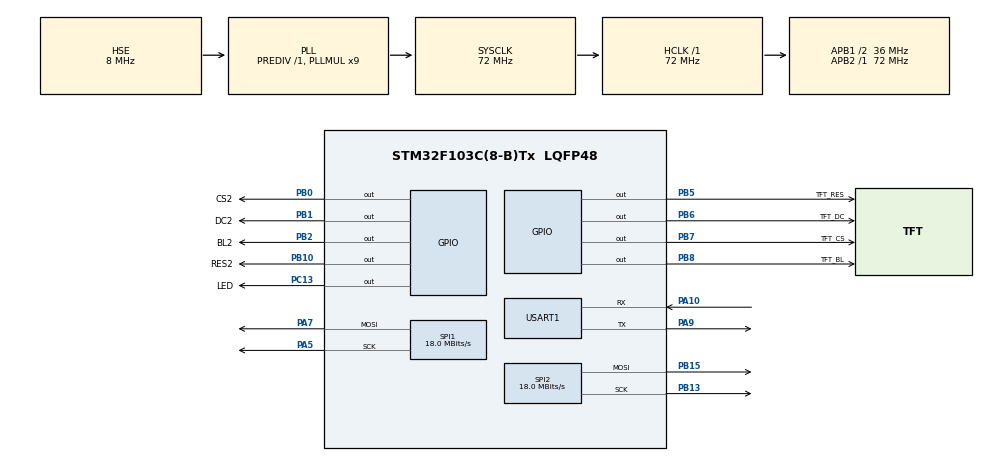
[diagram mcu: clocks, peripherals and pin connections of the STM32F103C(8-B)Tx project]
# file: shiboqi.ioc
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Dma.Request0=SPI1_TX
Dma.Request1=SPI2_TX
Dma.SPI1_TX.0.Direction=DMA_MEMORY_TO_PERIPH
Dma.SPI1_TX.0.Instance=DMA1_Channel3
Dma.SPI1_TX.0.MemDataAlignment=DMA_MDATAALIGN_BYTE
Dma.SPI1_TX.0.MemInc=DMA_MINC_ENABLE
Dma.SPI1_TX.0.Mode=DMA_NORMAL
Dma.SPI1_TX.0.PeriphDataAlignment=DMA_PDATAALIGN_BYTE
Dma.SPI1_TX.0.PeriphInc=DMA_PINC_DISABLE
Dma.SPI1_TX.0.Priority=DMA_PRIORITY_HIGH
Dma.SPI2_TX.1.Direction=DMA_MEMORY_TO_PERIPH
Dma.SPI2_TX.1.Instance=DMA1_Channel5
Dma.SPI2_TX.1.MemDataAlignment=DMA_MDATAALIGN_BYTE
Dma.SPI2_TX.1.MemInc=DMA_MINC_ENABLE
Dma.SPI2_TX.1.Mode=DMA_NORMAL
Dma.SPI2_TX.1.PeriphDataAlignment=DMA_PDATAALIGN_BYTE
Dma.SPI2_TX.1.PeriphInc=DMA_PINC_DISABLE
Dma.SPI2_TX.1.Priority=DMA_PRIORITY_HIGH
Mcu.Family=STM32F1
Mcu.Name=STM32F103C(8-B)Tx
Mcu.Package=LQFP48
NVIC.DMA1_Channel3_IRQn=true\:0\:0\:false\:false\:true\:false\:true\:true
NVIC.DMA1_Channel5_IRQn=true\:0\:0\:false\:false\:true\:false\:true\:true
NVIC.PriorityGroup=NVIC_PRIORITYGROUP_4
NVIC.USART1_IRQn=true\:0\:0\:false\:false\:true\:true\:true\:true
PA10.Mode=Asynchronous
PA10.Signal=USART1_RX
PA13.Mode=Serial_Wire
PA13.Signal=SYS_JTMS-SWDIO
PA14.Mode=Serial_Wire
PA14.Signal=SYS_JTCK-SWCLK
PA5.Mode=TX_Only_Simplex_Unidirect_Master
PA5.Signal=SPI1_SCK
PA7.Mode=TX_Only_Simplex_Unidirect_Master
PA7.Signal=SPI1_MOSI
PA9.Mode=Asynchronous
PA9.Signal=USART1_TX
PB0.GPIO_Label=CS2
PB0.Signal=GPIO_Output
PB1.GPIO_Label=DC2
PB1.Signal=GPIO_Output
PB10.GPIO_Label=RES2
PB10.Signal=GPIO_Output
PB13.Mode=TX_Only_Simplex_Unidirect_Master
PB13.Signal=SPI2_SCK
PB15.Mode=TX_Only_Simplex_Unidirect_Master
PB15.Signal=SPI2_MOSI
PB2.GPIO_Label=BL2
PB2.Signal=GPIO_Output
PB5.GPIO_Label=TFT_RES
PB5.GPIO_Speed=GPIO_SPEED_FREQ_HIGH
PB5.PinState=GPIO_PIN_RESET
PB5.Signal=GPIO_Output
PB6.GPIO_Label=TFT_DC
PB6.GPIO_Speed=GPIO_SPEED_FREQ_HIGH
PB6.PinState=GPIO_PIN_RESET
PB6.Signal=GPIO_Output
PB7.GPIO_Label=TFT_CS
PB7.GPIO_Speed=GPIO_SPEED_FREQ_HIGH
PB7.Signal=GPIO_Output
PB8.GPIO_Label=TFT_BL
PB8.Signal=GPIO_Output
PC13-TAMPER-RTC.GPIO_Label=LED
PC13-TAMPER-RTC.Signal=GPIO_Output
PD0-OSC_IN.Mode=HSE-External-Oscillator
PD0-OSC_IN.Signal=RCC_OSC_IN
PD1-OSC_OUT.Mode=HSE-External-Oscillator
PD1-OSC_OUT.Signal=RCC_OSC_OUT
ProjectManager.HeapSize=0x200
ProjectManager.StackSize=0x400
ProjectManager.TargetToolchain=STM32CubeIDE
RCC.AHBFreq_Value=72000000
RCC.APB1CLKDivider=RCC_HCLK_DIV2
RCC.APB1Freq_Value=36000000
RCC.APB1TimFreq_Value=72000000
RCC.APB2Freq_Value=72000000
RCC.APB2TimFreq_Value=72000000
RCC.HCLKFreq_Value=72000000
RCC.PLLMUL=RCC_PLL_MUL9
RCC.PLLSourceVirtual=RCC_PLLSOURCE_HSE
RCC.SYSCLKFreq_VALUE=72000000
RCC.SYSCLKSource=RCC_SYSCLKSOURCE_PLLCLK
RCC.USBFreq_Value=72000000
SPI1.BaudRatePrescaler=SPI_BAUDRATEPRESCALER_4
SPI1.CalculateBaudRate=18.0 MBits/s
SPI1.DataSize=SPI_DATASIZE_8BIT
SPI1.Direction=SPI_DIRECTION_2LINES
SPI1.Mode=SPI_MODE_MASTER
SPI1.VirtualType=VM_MASTER
SPI2.BaudRatePrescaler=SPI_BAUDRATEPRESCALER_2
SPI2.CalculateBaudRate=18.0 MBits/s
SPI2.Direction=SPI_DIRECTION_2LINES
SPI2.Mode=SPI_MODE_MASTER
SPI2.VirtualType=VM_MASTER
USART1.VirtualMode=VM_ASYNC
board=custom

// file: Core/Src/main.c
/* USER CODE BEGIN Header */
/**
 ******************************************************************************
 * @file           : main.c
 * @brief          : Main program body
 ******************************************************************************
 * @attention
 *
 * Copyright (c) 2025 STMicroelectronics.
 * All rights reserved.
 *
 * This software is licensed under terms that can be found in the LICENSE file
 * in the root directory of this software component.
 * If no LICENSE file comes with this software, it is provided AS-IS.
 *
 ******************************************************************************
 */
/* USER CODE END Header */
#include "main.h"
#include "dma.h"
#include "spi.h"
#include "usart.h"
#include "gpio.h"

/* USER CODE BEGIN Includes */
#include "TFTh/TFT_CAD.h"  // 包含绘图函数
#include "TFTh/TFT_init.h" // 包含初始化函数
#include "TFTh/TFT_text.h" // 包含文本显示函数
#include "TFTh/TFT_io.h"   // 包含IO函数
#include <math.h>          // 用于sin函数生成波形
#include <stdio.h>         // 用于sprintf格式化字符串
#include <string.h>        // 用于字符串处理函数
#include <stdbool.h>       // 用于布尔类型定义
/* USER CODE END Includes */

/* USER CODE BEGIN PV */
TFT_HandleTypeDef htft1;       // 第一个TFT屏幕句柄
#define TFT1_SCREEN_WIDTH 240  // TFT屏幕宽度
#define TFT1_SCREEN_HEIGHT 320 // TFT屏幕高度
TFT_HandleTypeDef htft2;       // 第二个TFT屏幕句柄
#define TFT2_SCREEN_WIDTH 128  // TFT屏幕宽度
#define TFT2_SCREEN_HEIGHT 160 // TFT屏幕高度

// 示波器相关变量
#define WAVEFORM_POINTS TFT1_SCREEN_WIDTH // 波形点数等于屏幕宽度
uint16_t waveform_data1[WAVEFORM_POINTS]; // 存储通道1波形Y坐标
uint16_t waveform_data2[WAVEFORM_POINTS]; // 存储通道2波形Y坐标
float time_base = 0.01f;                  // 时间基准 (默认10ms/div)
float voltage_scale1 = 1.0f;              // 通道1电压刻度 (V/div)
float voltage_scale2 = 1.0f;              // 通道2电压刻度 (V/div)
float trigger_level = 1.5f;               // 触发电平 (V)
char text_buffer[50];                     // 用于显示文本的缓冲区
uint8_t run_state = 1;                    // 运行状态 1:运行 0:停止
uint8_t channel1_enabled = 1;             // 通道1使能状态
uint8_t channel2_enabled = 0;             // 通道2使能状态
char coupling_mode[4] = "DC";             // 通道1耦合方式 (DC/AC)
char trigger_source[6] = "CHAN1";         // 触发源 (CHAN1/CHAN2)
char trigger_slope[4] = "POS";            // 触发斜率 (POS/NEG)
char trigger_mode[5] = "EDGE";            // 触发模式
char trigger_sweep[7] = "AUTO";           // 触发扫描模式 (AUTO/SINGLE)

// 波形测量数据
float signal_frequency = 50.0f; // 信号频率 (Hz)
float signal_amplitude = 3.3f;  // 信号幅值 (V峰峰值)
float signal_offset = 0.0f;     // 信号偏移 (V)
uint8_t show_measurement = 1;   // 是否显示测量值

// 波形参数
float sine_frequency = 1.0f;   // 正弦波频率系数
float square_frequency = 2.0f; // 方波频率系数
float phase = 0.0f;            // 波形相位

// UART接收相关
#define UART_RX_BUFFER_SIZE 128 // 增大缓冲区以容纳多行指令
uint8_t uart_rx_buffer[UART_RX_BUFFER_SIZE];
uint8_t uart_rx_data; // 单字节接收
volatile uint16_t uart_rx_index = 0;
volatile uint8_t uart_rx_complete = 0; // 接收完成标志

// 示波器网格设置
#define GRID_SIZE 30 // 网格大小（像素）
/* USER CODE END PV */

void SystemClock_Config(void);
/* USER CODE BEGIN PFP */
void parse_uart_command(char *command);
void analyze_waveform(uint16_t *wave_data, uint16_t points);
/* USER CODE END PFP */

int main(void)
{

  /* MCU Configuration--------------------------------------------------------*/

  /* Reset of all peripherals, Initializes the Flash interface and the Systick. */
  HAL_Init();

  /* Configure the system clock */
  SystemClock_Config();

  /* Initialize all configured peripherals */
  MX_GPIO_Init();
  MX_DMA_Init();
  MX_SPI1_Init();
  MX_SPI2_Init();
  MX_USART1_UART_Init();
  /* USER CODE BEGIN 2 */
  // 初始化第一个TFT屏幕 (ST7789)
  TFT_Init_Instance(&htft1, &hspi1, TFT_CS_GPIO_Port, TFT_CS_Pin);
  TFT_Config_Pins(&htft1, TFT_DC_GPIO_Port, TFT_DC_Pin,
                  TFT_RES_GPIO_Port, TFT_RES_Pin,
                  TFT_BL_GPIO_Port, TFT_BL_Pin);
  TFT_Config_Display(&htft1, 0, 0, 0);                                       // 设置方向、X/Y偏移 (方向0: 竖屏)
  TFT_IO_Init(&htft1);                                                       // 初始化IO层
  TFT_Init_ST7789v3(&htft1);                                                 // ST7789 屏幕初始化
  TFT_Fill_Area(&htft1, 0, 0, TFT1_SCREEN_WIDTH, TFT1_SCREEN_HEIGHT, BLACK); // 清屏为黑色

  // 初始化第二个TFT屏幕 (ST7735S)
  TFT_Init_Instance(&htft2, &hspi2, CS2_GPIO_Port, CS2_Pin);
  TFT_Config_Pins(&htft2, DC2_GPIO_Port, DC2_Pin,
                  RES2_GPIO_Port, RES2_Pin,
                  BL2_GPIO_Port, BL2_Pin);
  TFT_Config_Display(&htft2, 2, 2, 1);                                       // 设置方向、X/Y偏移 (方向0: 竖屏)
  TFT_IO_Init(&htft2);                                                       // 初始化IO层
  TFT_Init_ST7735S(&htft2);                                                  // ST7735S 屏幕初始化
  TFT_Fill_Area(&htft2, 0, 0, TFT2_SCREEN_WIDTH, TFT2_SCREEN_HEIGHT, BLACK); // 清屏为深灰色

  // 启动UART1接收中断，每次接收一个字节
  HAL_UART_Receive_IT(&huart1, &uart_rx_data, 1);

  /* USER CODE END 2 */

  /* Infinite loop */
  while (1)
  {

    /* USER CODE BEGIN 3 */

    // --- 1. 模拟数据生成 ---
    if (run_state) // 只有在运行状态下才更新波形
    {
      phase += 0.1f * sine_frequency; // 调整正弦波相位
      if (phase > 2 * 3.14159f)
      {
        phase -= 2 * 3.14159f;
      }

      // 通道1 - 正弦波
      if (channel1_enabled)
      {
        for (int i = 0; i < WAVEFORM_POINTS; i++)
        {
          // 生成正弦波数据，振幅根据电压刻度设置调整
          float value = sinf(phase + (float)i * 2 * 3.14159f / (WAVEFORM_POINTS / sine_frequency));

          // 映射到屏幕Y坐标，考虑电压刻度和触发电平
          float voltage_value = value * voltage_scale1 * 2; // 假设满屏高度为±4个电压刻度
          float screen_height_per_volt = (TFT1_SCREEN_HEIGHT / 8) / voltage_scale1;
          waveform_data1[i] = (uint16_t)(TFT1_SCREEN_HEIGHT / 2 - voltage_value * screen_height_per_volt);

          // 确保坐标在屏幕范围内
          if (waveform_data1[i] >= TFT1_SCREEN_HEIGHT)
            waveform_data1[i] = TFT1_SCREEN_HEIGHT - 1;
          if (waveform_data1[i] < 0)
            waveform_data1[i] = 0;
        }
      }

      // 通道2 - 方波
      if (channel2_enabled)
      {
        // 计算一个完整方波周期的点数
        int points_per_cycle = (int)(WAVEFORM_POINTS / square_frequency);
        if (points_per_cycle < 10)
          points_per_cycle = 10;

        for (int i = 0; i < WAVEFORM_POINTS; i++)
        {
          // 方波：高电平或低电平
          bool is_high = ((i % points_per_cycle) < (points_per_cycle / 2));

          // 计算方波在Y轴上的位置
          float voltage_high = 2.0f * voltage_scale2; // 高电平为2个刻度
          float voltage_low = -2.0f * voltage_scale2; // 低电平为-2个刻度
          float screen_height_per_volt = (TFT1_SCREEN_HEIGHT / 8) / voltage_scale2;

          if (is_high)
            waveform_data2[i] = (uint16_t)(TFT1_SCREEN_HEIGHT / 2 - voltage_high * screen_height_per_volt);
          else
            waveform_data2[i] = (uint16_t)(TFT1_SCREEN_HEIGHT / 2 - voltage_low * screen_height_per_volt);

          // 确保坐标在屏幕范围内
          if (waveform_data2[i] >= TFT1_SCREEN_HEIGHT)
            waveform_data2[i] = TFT1_SCREEN_HEIGHT - 1;
          if (waveform_data2[i] < 0)
            waveform_data2[i] = 0;
        }
      }

      // 分析波形数据并更新测量值
      if (channel1_enabled)
        analyze_waveform(waveform_data1, WAVEFORM_POINTS);
    }

    // --- 2. 绘制TFT1 (示波器波形) ---
    // a. 清除旧波形区域
    TFT_Fill_Area(&htft1, 0, 0, TFT1_SCREEN_WIDTH, TFT1_SCREEN_HEIGHT, BLACK);

    // b. 绘制网格
    // 绘制水平线
    for (int y = 0; y < TFT1_SCREEN_HEIGHT; y += GRID_SIZE) // 每GRID_SIZE像素画一条线
    {
      TFT_Draw_Fast_HLine(&htft1, 0, y, TFT1_SCREEN_WIDTH, GRAY); // 用灰色绘制水平线
    }
    // 绘制垂直线
    for (int x = 0; x < TFT1_SCREEN_WIDTH; x += GRID_SIZE) // 每GRID_SIZE像素画一条线
    {
      TFT_Draw_Fast_VLine(&htft1, x, 0, TFT1_SCREEN_HEIGHT, GRAY); // 用灰色绘制垂直线
    }
    // 绘制中心线
    TFT_Draw_Fast_HLine(&htft1, 0, TFT1_SCREEN_HEIGHT / 2, TFT1_SCREEN_WIDTH, GBLUE);
    TFT_Draw_Fast_VLine(&htft1, TFT1_SCREEN_WIDTH / 2, 0, TFT1_SCREEN_HEIGHT, GBLUE);

    // 在示波器屏幕上绘制触发电平线
    if (channel1_enabled || channel2_enabled)
    {
      // 将触发电平映射到屏幕Y坐标
      uint16_t trigger_y = (uint16_t)(TFT1_SCREEN_HEIGHT / 2 - (trigger_level / voltage_scale1) * (TFT1_SCREEN_HEIGHT / 8));
      if (trigger_y >= 0 && trigger_y < TFT1_SCREEN_HEIGHT)
      {
        // 用虚线绘制触发电平
        for (int x = 0; x < TFT1_SCREEN_WIDTH; x += 6)
        {
          TFT_Draw_Fast_HLine(&htft1, x, trigger_y, 3, MAGENTA);
        }

        // 在屏幕右侧绘制触发指示标志
        TFT_Draw_Triangle(&htft1,
                          TFT1_SCREEN_WIDTH - 10, trigger_y,
                          TFT1_SCREEN_WIDTH - 2, trigger_y - 4,
                          TFT1_SCREEN_WIDTH - 2, trigger_y + 4,
                          MAGENTA);
      }
    }

    // c. 绘制波形
    if (channel1_enabled)
    {
      // 绘制通道1信息
      sprintf(text_buffer, "CH1");
      TFT_Show_String(&htft1, 5, 45, text_buffer, YELLOW, BLACK, 16, 0);

      // 绘制通道1波形
      for (int i = 0; i < WAVEFORM_POINTS - 1; i++)
      {
        TFT_Draw_Line(&htft1, i, waveform_data1[i], i + 1, waveform_data1[i + 1], YELLOW); // 用黄色绘制波形
      }
    }

    if (channel2_enabled)
    {
      // 绘制通道2信息
      sprintf(text_buffer, "CH2");
      TFT_Show_String(&htft1, 35, 45, text_buffer, CYAN, BLACK, 16, 0);

      // 绘制通道2波形
      for (int i = 0; i < WAVEFORM_POINTS - 1; i++)
      {
        TFT_Draw_Line(&htft1, i, waveform_data2[i], i + 1, waveform_data2[i + 1], CYAN); // 用青色绘制波形
      }
    }

    // 在停止状态下显示提示
    if (!run_state)
    {
      sprintf(text_buffer, "STOP");
      TFT_Show_String(&htft1, TFT1_SCREEN_WIDTH - 40, 5, text_buffer, RED, BLACK, 16, 0);
    }

    // --- 3. 绘制TFT2 (参数显示) ---
    // a. 清屏
    TFT_Fill_Area(&htft2, 0, 0, TFT2_SCREEN_WIDTH, TFT2_SCREEN_HEIGHT, BLACK);

    // b. 显示参数
    // 显示标题和运行状态
    TFT_Show_String(&htft2, 5, 5, "Oscilloscope", WHITE, BLACK, 16, 0);
    if (run_state)
    {
      TFT_Show_String(&htft2, 90, 5, "RUN", GREEN, BLACK, 16, 0);
    }
    else
    {
      TFT_Show_String(&htft2, 90, 5, "STOP", RED, BLACK, 16, 0);
    }

    // 分隔线
    TFT_Draw_Fast_HLine(&htft2, 0, 25, TFT2_SCREEN_WIDTH, BROWN);

    // 通道状态
    sprintf(text_buffer, "CH1:%s", channel1_enabled ? "ON" : "OFF");
    TFT_Show_String(&htft2, 5, 30, text_buffer, YELLOW, BLACK, 16, 0);

    sprintf(text_buffer, "CH2:%s", channel2_enabled ? "ON" : "OFF");
    TFT_Show_String(&htft2, 70, 30, text_buffer, CYAN, BLACK, 16, 0);

    // 显示时间基准 (更新为秒/格)
    if (time_base >= 1000.0f)
      sprintf(text_buffer, "Time: %.1fs/div", time_base / 1000.0f);
    else
      sprintf(text_buffer, "Time: %.1fms/div", time_base);
    TFT_Show_String(&htft2, 5, 50, text_buffer, BRRED, BLACK, 16, 0);

    // 显示电压刻度 - 分别显示两个通道的电压刻度
    sprintf(text_buffer, "V1: %.1fV/div", voltage_scale1);
    TFT_Show_String(&htft2, 5, 70, text_buffer, YELLOW, BLACK, 16, 0);

    if (channel2_enabled)
    {
      sprintf(text_buffer, "V2: %.1fV/div", voltage_scale2);
      TFT_Show_String(&htft2, 5, 90, text_buffer, CYAN, BLACK, 16, 0);
    }

    // 显示触发信息
    uint16_t trig_y = 90;
    if (channel2_enabled)
      trig_y = 110;

    sprintf(text_buffer, "Trig: %s", trigger_source);
    TFT_Show_String(&htft2, 5, trig_y, text_buffer, MAGENTA, BLACK, 16, 0);

    // 显示触发斜率
    trig_y += 20;
    sprintf(text_buffer, "Slope: %s", strcmp(trigger_slope, "POS") == 0 ? "Rise" : "Fall");
    TFT_Show_String(&htft2, 5, trig_y, text_buffer, MAGENTA, BLACK, 16, 0);

    // 耦合方式
    trig_y += 20;
    sprintf(text_buffer, "Coupl: %s", coupling_mode);
    TFT_Show_String(&htft2, 5, trig_y, text_buffer, LIGHTBLUE, BLACK, 16, 0);

    // 如果有足够空间，显示测量信息
    if (channel1_enabled && trig_y + 20 < TFT2_SCREEN_HEIGHT - 20)
    {
      sprintf(text_buffer, "Freq: %.1f Hz", signal_frequency);
      TFT_Show_String(&htft2, 5, trig_y + 20, text_buffer, GREEN, BLACK, 16, 0);
    }

    // --- 4. 串口指令处理 (占位符) ---
    if (uart_rx_complete)
    {
      parse_uart_command((char *)uart_rx_buffer);
      uart_rx_complete = 0;
    }

    // --- 5. 延时 ---
    HAL_Delay(20); // 控制刷新率，避免闪烁太快
    /* USER CODE END WHILE */

    /* USER CODE BEGIN 3 */
  }

  /* USER CODE END 3 */
}

void SystemClock_Config(void)
{
  RCC_OscInitTypeDef RCC_OscInitStruct = {0};
  RCC_ClkInitTypeDef RCC_ClkInitStruct = {0};

  /** Initializes the RCC Oscillators according to the specified parameters
   * in the RCC_OscInitTypeDef structure.
   */
  RCC_OscInitStruct.OscillatorType = RCC_OSCILLATORTYPE_HSE;
  RCC_OscInitStruct.HSEState = RCC_HSE_ON;
  RCC_OscInitStruct.HSEPredivValue = RCC_HSE_PREDIV_DIV1;
  RCC_OscInitStruct.HSIState = RCC_HSI_ON;
  RCC_OscInitStruct.PLL.PLLState = RCC_PLL_ON;
  RCC_OscInitStruct.PLL.PLLSource = RCC_PLLSOURCE_HSE;
  RCC_OscInitStruct.PLL.PLLMUL = RCC_PLL_MUL9;
  if (HAL_RCC_OscConfig(&RCC_OscInitStruct) != HAL_OK)
  {
    Error_Handler();
  }

  /** Initializes the CPU, AHB and APB buses clocks
   */
  RCC_ClkInitStruct.ClockType = RCC_CLOCKTYPE_HCLK | RCC_CLOCKTYPE_SYSCLK | RCC_CLOCKTYPE_PCLK1 | RCC_CLOCKTYPE_PCLK2;
  RCC_ClkInitStruct.SYSCLKSource = RCC_SYSCLKSOURCE_PLLCLK;
  RCC_ClkInitStruct.AHBCLKDivider = RCC_SYSCLK_DIV1;
  RCC_ClkInitStruct.APB1CLKDivider = RCC_HCLK_DIV2;
  RCC_ClkInitStruct.APB2CLKDivider = RCC_HCLK_DIV1;

  if (HAL_RCC_ClockConfig(&RCC_ClkInitStruct, FLASH_LATENCY_2) != HAL_OK)
  {
    Error_Handler();
  }
}

/* USER CODE BEGIN 4 */

/**
 * @brief  分析波形数据并更新测量值
 * @param  wave_data 波形数据数组
 * @param  points 波形点数
 * @retval None
 */
void analyze_waveform(uint16_t *wave_data, uint16_t points)
{
  if (points < 10 || !channel1_enabled || !run_state)
    return;

  // 查找最大值和最小值
  uint16_t max_value = 0;
  uint16_t min_value = TFT1_SCREEN_HEIGHT;

  for (uint16_t i = 0; i < points; i++)
  {
    if (wave_data[i] > max_value)
      max_value = wave_data[i];
    if (wave_data[i] < min_value)
      min_value = wave_data[i];
  }

  // 计算幅值 (转换为电压值)
  uint16_t peak_to_peak = (min_value > max_value) ? 0 : (max_value - min_value);
  float pixels_per_volt = (TFT1_SCREEN_HEIGHT / 8) / voltage_scale1; // 每伏特对应的像素数
  signal_amplitude = (float)peak_to_peak / pixels_per_volt;

  // 计算直流偏移
  uint16_t mid_point = (max_value + min_value) / 2;
  signal_offset = ((float)TFT1_SCREEN_HEIGHT / 2 - mid_point) / pixels_per_volt;

  // 计算频率 (零点交叉法)
  // 假设一个完整周期内有两个零点交叉
  // 为简化计算，我们搜索上升沿
  uint16_t crossings = 0;
  uint16_t first_crossing = 0;
  uint16_t last_crossing = 0;
  uint16_t mid_level = TFT1_SCREEN_HEIGHT / 2;

  for (uint16_t i = 1; i < points; i++)
  {
    // 检测上升沿穿越中点
    if (wave_data[i - 1] > mid_level && wave_data[i] <= mid_level)
    {
      if (crossings == 0)
        first_crossing = i;
      else
        last_crossing = i;

      crossings++;
    }
  }

  // 如果找到至少两个交叉点，计算频率
  if (crossings >= 2 && last_crossing > first_crossing)
  {
    // 计算周期数
    float num_cycles = (float)(crossings - 1) / 2.0f;

    // 计算周期时间 (ms)
    float period_time = (float)(last_crossing - first_crossing) * time_base / GRID_SIZE;

    // 计算频率 (Hz)
    if (period_time > 0)
      signal_frequency = (1000.0f * num_cycles) / period_time;
    else
      signal_frequency = 0;
  }
}

/**
 * @brief  串口接收中断回调
 * @param  huart UART句柄
 * @retval None
 */
void HAL_UART_RxCpltCallback(UART_HandleTypeDef *huart)
{
  if (huart->Instance == USART1)
  {
    // 将接收到的字符存入缓冲区
    if (uart_rx_data == '\n' || uart_rx_data == '\r')
    {
      // 收到回车换行符，表示指令结束
      if (uart_rx_index > 0)
      {
        uart_rx_buffer[uart_rx_index] = '\0'; // 添加字符串结束符
        uart_rx_complete = 1;                 // 设置完成标志
        uart_rx_index = 0;                    // 重置索引
      }
    }
    else
    {
      // 存储字符到缓冲区
      if (uart_rx_index < UART_RX_BUFFER_SIZE - 1)
      {
        uart_rx_buffer[uart_rx_index++] = uart_rx_data;
      }
    }

    // 重新启动接收中断
    HAL_UART_Receive_IT(&huart1, &uart_rx_data, 1);
  }
}

/**
 * @brief  解析串口接收到的指令
 * @param  command 指令字符串
 * @retval None
 */
void parse_uart_command(char *command)
{
  // 回显收到的指令（调试用）
  HAL_UART_Transmit(&huart1, (uint8_t *)command, strlen(command), 100);
  HAL_UART_Transmit(&huart1, (uint8_t *)"\r\n", 2, 10);

  // 将指令转换为大写以统一处理
  for (int i = 0; command[i]; i++)
  {
    if (command[i] >= 'a' && command[i] <= 'z')
    {
      command[i] = command[i] - 'a' + 'A';
    }
  }

  // 自动设置
  if (strstr(command, ":AUTOSCALE"))
  {
    time_base = 0.01f;               // 默认时基设置为10ms/div
    voltage_scale1 = 1.0f;           // 默认通道1电压刻度
    voltage_scale2 = 1.0f;           // 默认通道2电压刻度
    trigger_level = 0.0f;            // 默认触发电平
    run_state = 1;                   // 运行状态
    channel1_enabled = 1;            // 启用通道1
    channel2_enabled = 1;            // 启用通道2
    sine_frequency = 1.0f;           // 重置正弦波频率
    square_frequency = 1.0f;         // 重置方波频率
    strcpy(coupling_mode, "DC");     // 默认耦合方式
    strcpy(trigger_slope, "POS");    // 默认上升沿触发
    strcpy(trigger_source, "CHAN1"); // 默认通道1触发

    // 发送确认消息
    HAL_UART_Transmit(&huart1, (uint8_t *)"Autoscale OK\r\n", 13, 100);
  }

  // 通道开关控制
  else if (strstr(command, ":CHAN1 ON"))
  {
    channel1_enabled = 1;
    HAL_UART_Transmit(&huart1, (uint8_t *)"Channel 1 ON\r\n", 14, 100);
  }
  else if (strstr(command, ":CHAN1 OFF"))
  {
    channel1_enabled = 0;
    HAL_UART_Transmit(&huart1, (uint8_t *)"Channel 1 OFF\r\n", 15, 100);
  }
  else if (strstr(command, ":CHAN2 ON"))
  {
    channel2_enabled = 1;
    HAL_UART_Transmit(&huart1, (uint8_t *)"Channel 2 ON\r\n", 14, 100);
  }
  else if (strstr(command, ":CHAN2 OFF"))
  {
    channel2_enabled = 0;
    HAL_UART_Transmit(&huart1, (uint8_t *)"Channel 2 OFF\r\n", 15, 100);
  }

  // 垂直设置 - 电压量程
  else if (strstr(command, ":CHAN1:VOLTS"))
  {
    float new_volts = 0;
    char *volt_pos = strstr(command, "VOLTS") + 5; // 跳过"VOLTS"

    // 跳过空格
    while (*volt_pos == ' ')
      volt_pos++;

    // 提取电压值
    if (sscanf(volt_pos, "%fV", &new_volts) == 1)
    {
      voltage_scale1 = new_volts;
      char resp[30];
      sprintf(resp, "Voltage scale CH1: %.1f V/div\r\n", voltage_scale1);
      HAL_UART_Transmit(&huart1, (uint8_t *)resp, strlen(resp), 100);
    }
  }
  else if (strstr(command, ":CHAN2:VOLTS"))
  {
    float new_volts = 0;
    char *volt_pos = strstr(command, "VOLTS") + 5; // 跳过"VOLTS"

    // 跳过空格
    while (*volt_pos == ' ')
      volt_pos++;

    // 提取电压值
    if (sscanf(volt_pos, "%fV", &new_volts) == 1)
    {
      voltage_scale2 = new_volts;
      char resp[30];
      sprintf(resp, "Voltage scale CH2: %.1f V/div\r\n", voltage_scale2);
      HAL_UART_Transmit(&huart1, (uint8_t *)resp, strlen(resp), 100);
    }
  }

  // 耦合方式设置
  else if (strstr(command, ":CHAN1:COUP"))
  {
    if (strstr(command, "DC"))
    {
      strcpy(coupling_mode, "DC");
      HAL_UART_Transmit(&huart1, (uint8_t *)"Coupling: DC\r\n", 14, 100);
    }
    else if (strstr(command, "AC"))
    {
      strcpy(coupling_mode, "AC");
      HAL_UART_Transmit(&huart1, (uint8_t *)"Coupling: AC\r\n", 14, 100);
    }
  }

  // 新的时基设置格式 - :TIM:MAIN
 // 通过精确匹配处理特定时基值
else if (strstr(command, ":TIM:MAIN 0.001"))
{
  time_base = 1.0f; // 1ms/div
  sine_frequency = 2.0f; // 快速
  square_frequency = 2.0f;
  HAL_UART_Transmit(&huart1, (uint8_t *)"Timebase: 1.0 ms/div\r\n", 24, 100);
}
else if (strstr(command, ":TIM:MAIN 0.01"))
{
  time_base = 10.0f; // 10ms/div
  sine_frequency = 1.0f; // 中速
  square_frequency = 1.5f;
  HAL_UART_Transmit(&huart1, (uint8_t *)"Timebase: 10.0 ms/div\r\n", 25, 100);
}
else if (strstr(command, ":TIM:MAIN 0.1"))
{
  time_base = 100.0f; // 100ms/div
  sine_frequency = 0.2f; // 非常慢
  square_frequency = 0.5f;
  HAL_UART_Transmit(&huart1, (uint8_t *)"Timebase: 100.0 ms/div\r\n", 26, 100);
}

  // 触发源设置
  else if (strstr(command, ":TRIG:EDGE:SOUR"))
  {
    if (strstr(command, "CHAN1"))
    {
      strcpy(trigger_source, "CHAN1");
      HAL_UART_Transmit(&huart1, (uint8_t *)"Trigger source: CHAN1\r\n", 24, 100);
    }
    else if (strstr(command, "CHAN2"))
    {
      strcpy(trigger_source, "CHAN2");
      HAL_UART_Transmit(&huart1, (uint8_t *)"Trigger source: CHAN2\r\n", 24, 100);
    }
  }

  // 触发斜率设置
  else if (strstr(command, ":TRIG:EDGE:SLOP"))
  {
    if (strstr(command, "POS"))
    {
      strcpy(trigger_slope, "POS");
      HAL_UART_Transmit(&huart1, (uint8_t *)"Trigger slope: Rising\r\n", 24, 100);
    }
    else if (strstr(command, "NEG"))
    {
      strcpy(trigger_slope, "NEG");
      HAL_UART_Transmit(&huart1, (uint8_t *)"Trigger slope: Falling\r\n", 25, 100);
    }
  }

  // 运行/停止控制
  else if (strstr(command, ":RUN"))
  {
    run_state = !run_state; // 切换运行/停止状态
    if (run_state)
      HAL_UART_Transmit(&huart1, (uint8_t *)"RUN\r\n", 5, 100);
    else
      HAL_UART_Transmit(&huart1, (uint8_t *)"STOP\r\n", 6, 100);
  }

  // 停止指令
  else if (strstr(command, ":STOP"))
  {
    run_state = 0; // 停止
    HAL_UART_Transmit(&huart1, (uint8_t *)"STOP\r\n", 6, 100);
  }
}

/* USER CODE END 4 */

void Error_Handler(void)
{
  __disable_irq();
  while (1)
  {
  }
}
